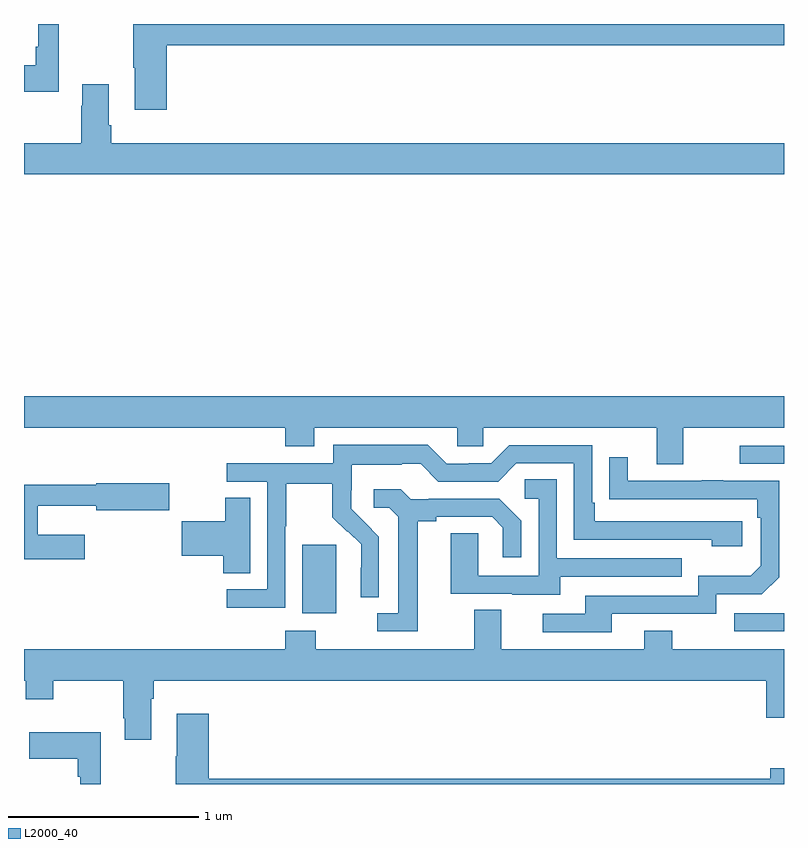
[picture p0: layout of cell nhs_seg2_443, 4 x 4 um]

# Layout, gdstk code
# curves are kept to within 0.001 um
import gdstk
lib = gdstk.Library(unit=1e-6, precision=1e-09)
def R(c, l, rs):  # rectangles x0, y0, x1, y1
    for r in rs: c.add(gdstk.rectangle(r[:2], r[2:], *l))
def P(c, l, *ps):  # polygons
    for p in ps: c.add(gdstk.Polygon(p, *l))
L2000_40 = (2000, 40)

nhs_seg2_443 = lib.new_cell('nhs_seg2_443')
R(nhs_seg2_443, L2000_40, [(136.737,606.603,137,606.699), (134.465,606.698,134.644,607.059), (136.767,607.485,137,607.581)])
P(nhs_seg2_443, L2000_40, [(133.183,609.8),(133.074,609.8),(133.074,609.679),(133.062,609.679),(133.062,609.583),(133,609.583),(133,609.443),(133.183,609.443)],
  [(133.751,609.688),(137,609.688),(137,609.8),(133.576,609.8),(133.576,609.571),(133.583,609.571),(133.583,609.348),(133.751,609.348)],
  [(137,609.172),(133.46,609.172),(133.46,609.268),(133.447,609.268),(133.447,609.484),(133.307,609.484),(133.307,609.371),(133.3,609.371),(133.3,609.172),(133,609.172),(133,609.008),(137,609.008)],
  [(136.471,607.676),(137,607.676),(137,607.84),(133,607.84),(133,607.676),(134.375,607.676),(134.375,607.577),(134.527,607.577),(134.527,607.676),(135.279,607.676),(135.279,607.578),(135.417,607.578),(135.417,607.676),(136.331,607.676),(136.331,607.482),(136.471,607.482)],
  [(134.376,607.156),(134.379,607.156),(134.379,607.38),(134.623,607.38),(134.623,607.205),(134.7,607.128),(134.703,607.131),(134.774,607.061),(134.774,606.938),(134.772,606.938),(134.772,606.784),(134.868,606.784),(134.868,607.102),(134.722,607.25),(134.722,607.347),(134.724,607.347),(134.724,607.481),(134.987,607.481),(134.987,607.485),(135.087,607.485),(135.18,607.392),(135.495,607.392),(135.591,607.488),(135.894,607.488),(135.894,607.086),(136.619,607.086),(136.619,607.052),(136.78,607.052),(136.78,607.182),(136.003,607.182),(136.003,607.279),(135.99,607.279),(135.99,607.584),(135.555,607.584),(135.459,607.488),(135.341,607.488),(135.341,607.485),(135.225,607.485),(135.125,607.585),(134.628,607.585),(134.628,607.488),(134.067,607.488),(134.067,607.392),(134.28,607.392),(134.28,606.825),(134.067,606.825),(134.067,606.727),(134.376,606.727)],
  [(136.093,606.696),(136.644,606.696),(136.644,606.798),(136.884,606.798),(136.974,606.888),(136.974,607.395),(136.679,607.395),(136.679,607.4),(136.567,607.4),(136.567,607.395),(136.177,607.395),(136.177,607.519),(136.081,607.519),(136.081,607.3),(136.858,607.299),(136.858,607.202),(136.878,607.202),(136.878,606.948),(136.825,606.895),(136.548,606.895),(136.548,606.792),(135.953,606.792),(135.953,606.696),(135.729,606.696),(135.729,606.6),(136.093,606.6)],
  [(135.823,606.891),(136.463,606.891),(136.463,606.987),(135.804,606.987),(135.804,607.403),(135.636,607.403),(135.636,607.302),(135.708,607.302),(135.708,606.897),(135.39,606.897),(135.39,607.121),(135.245,607.121),(135.245,606.801),(135.569,606.801),(135.569,606.797),(135.823,606.797)],
  [(133.321,607.111),(133.072,607.111),(133.072,607.265),(133.38,607.265),(133.38,607.241),(133.765,607.241),(133.765,607.383),(133.38,607.383),(133.38,607.375),(133,607.375),(133,606.982),(133.321,606.982)],
  [(135.073,607.184),(135.169,607.184),(135.169,607.206),(135.464,607.206),(135.521,607.149),(135.521,606.993),(135.618,606.993),(135.618,607.186),(135.502,607.302),(135.13,607.302),(135.13,607.299),(135.036,607.299),(134.984,607.351),(134.841,607.351),(134.841,607.254),(134.922,607.254),(134.969,607.207),(134.969,606.699),(134.859,606.699),(134.859,606.603),(135.073,606.603)],
  [(134.191,607.307),(134.06,607.307),(134.06,607.184),(133.83,607.184),(133.83,607.001),(134.048,607.001),(134.048,606.91),(134.191,606.91)],
  [(133.669,606.248),(133.682,606.248),(133.682,606.344),(136.907,606.344),(136.907,606.15),(137,606.15),(137,606.508),(136.413,606.508),(136.413,606.607),(136.265,606.607),(136.265,606.508),(135.511,606.508),(135.511,606.716),(135.371,606.716),(135.371,606.508),(134.535,606.508),(134.535,606.607),(134.375,606.607),(134.375,606.508),(133,606.508),(133,606.344),(133.008,606.344),(133.008,606.245),(133.155,606.245),(133.155,606.344),(133.522,606.344),(133.522,606.145),(133.529,606.145),(133.529,606.033),(133.669,606.033)],
  [(137,605.884),(136.928,605.884),(136.928,605.828),(133.973,605.828),(133.973,606.169),(133.805,606.169),(133.805,605.945),(133.798,605.945),(133.798,605.8),(137,605.8)],
  [(133.405,606.073),(133.027,606.073),(133.027,605.933),(133.284,605.933),(133.284,605.837),(133.296,605.837),(133.296,605.8),(133.405,605.8)])

lib.write_gds('nhs_seg2_443.gds')
